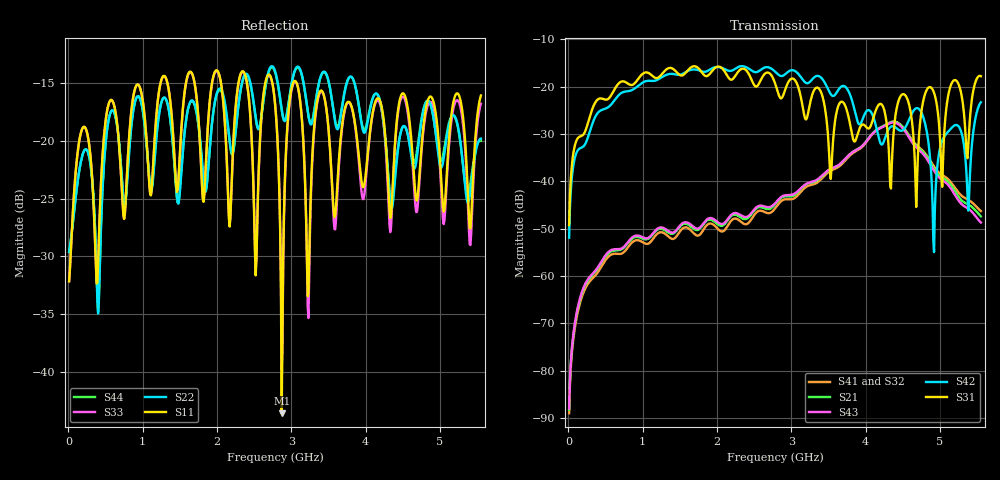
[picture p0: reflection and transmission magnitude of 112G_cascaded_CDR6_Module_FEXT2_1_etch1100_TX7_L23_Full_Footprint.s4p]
! Created Tue Feb 26 10:14:10 2019
# hz S ma R 50
! 4 Port Network Data from SP1.SP block
! freq  magS11  angS11  magS12  angS12  magS13  angS13  magS14  angS14
!  magS21  angS21  magS22  angS22  magS23  angS23  magS24  angS24
!  magS31  angS31  magS32  angS32  magS33  angS33  magS34  angS34
!  magS41  angS41  magS42  angS42  magS43  angS43  magS44  angS44
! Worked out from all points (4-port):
!   555 points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, 10 MHz to 5.55 GHz, reference 50 ohm
!   strongest paths, dB at 10 MHz, 1.39 GHz, 2.78 GHz, 4.17 GHz, 5.55 GHz:
!     S31: -49.2, -16.1, -19.2, -23.9, -17.8
!     S42: -51.9, -17.3, -16.8, -30.4, -23.3
!     S43: -88.0, -50.8, -44.6, -29.0, -48.7
!     S21: -88.3, -51.1, -44.9, -28.9, -47.4
!     S41: -89.0, -52.1, -45.8, -29.0, -46.3
!     S32: -89.0, -52.1, -45.8, -29.2, -46.5
!   lowest |S11| = -43.6 dB at 2.87 GHz (marker M1), VSWR 1.01, Z = 50.2 - j0.637 ohm
!   |S11| at or under -10 dB: start of sweep to end of sweep
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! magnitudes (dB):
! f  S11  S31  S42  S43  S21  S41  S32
! 10 MHz  -32.1  -49.2  -51.9  -88.0  -88.3  -89.0  -89.0
! 700 MHz  -22.0  -19.0  -21.5  -54.3  -54.5  -55.3  -55.3
! 2.71 GHz  -14.3  -17.2  -16.0  -45.4  -45.8  -46.7  -46.9
! 2.87 GHz  -43.6  -22.4  -17.7  -43.2  -43.4  -44.1  -44.2
! 4.72 GHz  -23.2  -29.8  -24.8  -33.4  -33.1  -32.8  -33.1
! 4.92 GHz  -16.8  -21.3  -55.0  -37.8  -37.3  -36.9  -37.2
! 5.55 GHz  -16.1  -17.8  -23.3  -48.7  -47.4  -46.3  -46.5
